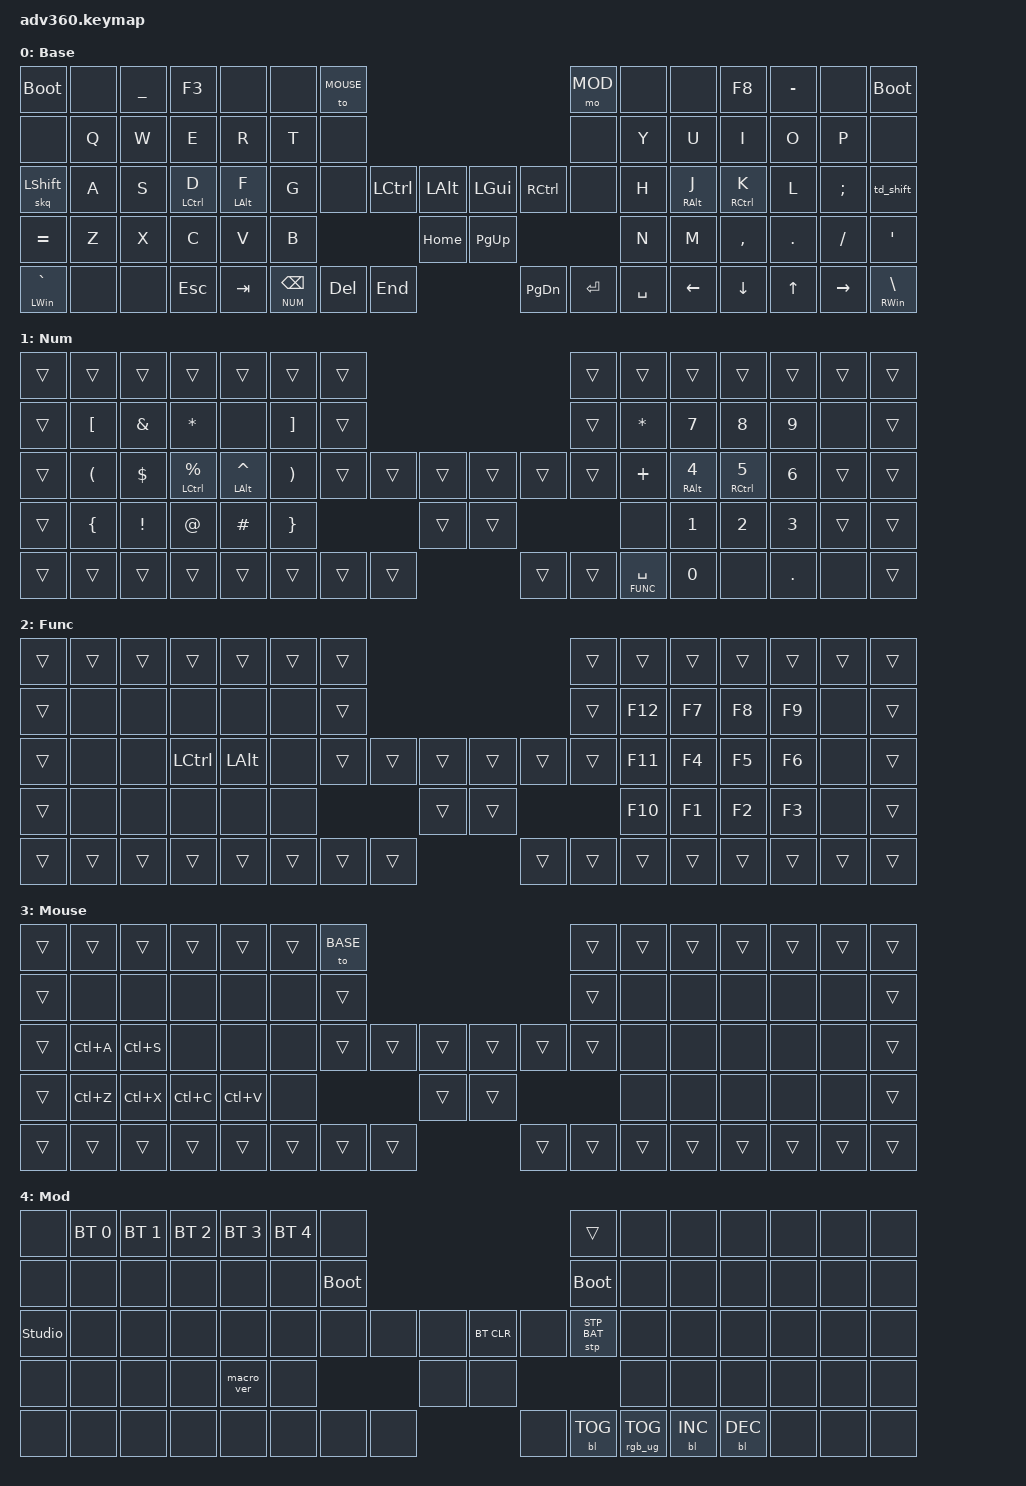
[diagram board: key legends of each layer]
#include <behaviors.dtsi>
#include "includes/custom_behaviors.dtsi"
#include <dt-bindings/zmk/keys.h>
#include <dt-bindings/zmk/bt.h>
#include <dt-bindings/zmk/rgb.h>
#include <dt-bindings/zmk/stp.h>
#include <dt-bindings/zmk/backlight.h>
#include <dt-bindings/zmk/pointing.h>

#define BASE  0
#define NUM   1
#define FUNC  2
#define MOUSE 3
#define MOD   4

/ {
    behaviors {
      #include "macros.dtsi"
      #include "version.dtsi"
    };

  combos {
      compatible = "zmk,combos";

      combo_home {
          timeout-ms = <50>;
          key-positions = <40 41>;
          bindings = <&kp HOME>;
      };

      combo_end {
          timeout-ms = <50>;
          key-positions = <41 42>;
          bindings = <&kp END>;
      };

      combo_pg_up {
          timeout-ms = <50>;
          key-positions = <23 24>;
          bindings = <&kp PG_UP>;
      };

      combo_pg_dn {
          timeout-ms = <50>;
          key-positions = <55 56>;
          bindings = <&kp PG_DN>;
      };

  };

  keymap {
    compatible = "zmk,keymap";

    base_layer {
      display-name = "Base";
      bindings = <
// |------------------|------------------|------------------|------------------|------------------|------------------|------------------|                                                                                                                      |------------------|------------------|------------------|------------------|------------------|------------------|------------------|
    &bootloader        &none              &kp UNDER          &kp F3             &none              &none              &to MOUSE                                                                                                                                 &mo MOD            &none              &none              &kp F8             &kp MINUS          &none              &bootloader
// |------------------|------------------|------------------|------------------|------------------|------------------|------------------|                                                                                                                      |------------------|------------------|------------------|------------------|------------------|------------------|------------------|
    &none              &kp Q              &kp W              &kp E              &kp R              &kp T              &none                                                                                                                                     &none              &kp Y              &kp U              &kp I              &kp O              &kp P              &none
// |------------------|------------------|------------------|------------------|------------------|------------------|------------------|------------------|------------------|------------------|    |------------------|------------------|------------------|------------------|------------------|------------------|------------------|------------------|------------------|------------------|
    &skq LSHFT         &kp A              &kp S              &hm_l LCTRL D      &hm_l LALT F       &kp G              &none                                 &kp LCTRL          &kp LALT                &kp LGUI           &kp RCTRL                             &none              &kp H              &hm_r RALT J       &hm_r RCTRL K      &kp L              &kp SEMI           &td_shift
// |------------------|------------------|------------------|------------------|------------------|------------------|------------------|------------------|------------------|------------------|    |------------------|------------------|------------------|------------------|------------------|------------------|------------------|------------------|------------------|------------------|
    &kp EQUAL          &kp Z              &kp X              &kp C              &kp V              &kp B                                                                       &kp HOME                &kp PG_UP                                                                   &kp N              &kp M              &kp COMMA          &kp DOT            &kp FSLH           &kp SQT
// |------------------|------------------|------------------|------------------|------------------|------------------|------------------|------------------|------------------|------------------|    |------------------|------------------|------------------|------------------|------------------|------------------|------------------|------------------|------------------|------------------|
    &hm_l LWIN GRAVE   &none              &none              &kp ESC            &kp TAB                                                  &lt NUM BSPC       &kp DEL            &kp END                 &kp PG_DN          &kp ENTER          &kp SPACE                                                &kp LEFT           &kp DOWN           &kp UP             &kp RIGHT          &hm_r RWIN BSLH
// |------------------|------------------|------------------|------------------|------------------|------------------|------------------|------------------|------------------|------------------|    |------------------|------------------|------------------|------------------|------------------|------------------|------------------|------------------|------------------|------------------|
      >;
    };
    num {
      display-name = "Num";
      bindings = <
// |------------------|------------------|------------------|------------------|------------------|------------------|------------------|                                                                                                                      |------------------|------------------|------------------|------------------|------------------|------------------|------------------|
    &trans             &trans             &trans             &trans             &trans             &trans             &trans                                                                                                                                    &trans             &trans             &trans             &trans             &trans             &trans             &trans
// |------------------|------------------|------------------|------------------|------------------|------------------|------------------|                                                                                                                      |------------------|------------------|------------------|------------------|------------------|------------------|------------------|
    &trans             &kp LBKT           &kp AMPERSAND      &kp STAR           &none              &kp RBKT           &trans                                                                                                                                    &trans             &kp STAR           &kp N7             &kp N8             &kp N9             &none              &trans
// |------------------|------------------|------------------|------------------|------------------|------------------|------------------|------------------|------------------|------------------|    |------------------|------------------|------------------|------------------|------------------|------------------|------------------|------------------|------------------|------------------|
    &trans             &kp LPAR           &kp DOLLAR         &hm_l LCTRL PRCNT  &hm_l LALT CARET   &kp RPAR           &trans                                &trans             &trans                  &trans             &trans                                &trans             &kp PLUS           &hm_r RALT N4      &hm_r RCTRL N5     &kp N6             &trans             &trans
// |------------------|------------------|------------------|------------------|------------------|------------------|------------------|------------------|------------------|------------------|    |------------------|------------------|------------------|------------------|------------------|------------------|------------------|------------------|------------------|------------------|
    &trans             &kp LBRC           &kp EXCL           &kp AT             &kp HASH           &kp RBRC                                                                    &trans                  &trans                                                                      &none              &kp N1             &kp N2             &kp N3             &trans             &trans
// |------------------|------------------|------------------|------------------|------------------|------------------|------------------|------------------|------------------|------------------|    |------------------|------------------|------------------|------------------|------------------|------------------|------------------|------------------|------------------|------------------|
    &trans             &trans             &trans             &trans             &trans                                                   &trans             &trans             &trans                  &trans             &trans             &lt FUNC SPACE                                           &kp N0             &none              &kp DOT            &none              &trans
// |------------------|------------------|------------------|------------------|------------------|------------------|------------------|------------------|------------------|------------------|    |------------------|------------------|------------------|------------------|------------------|------------------|------------------|------------------|------------------|------------------|
      >;
    };

    func {
      display-name = "Func";
      bindings = <
// |------------------|------------------|------------------|------------------|------------------|------------------|------------------|                                                                                                                      |------------------|------------------|------------------|------------------|------------------|------------------|------------------|
    &trans             &trans             &trans             &trans             &trans             &trans             &trans                                                                                                                                    &trans             &trans             &trans             &trans             &trans             &trans             &trans
// |------------------|------------------|------------------|------------------|------------------|------------------|------------------|                                                                                                                      |------------------|------------------|------------------|------------------|------------------|------------------|------------------|
    &trans             &none              &none              &none              &none              &none              &trans                                                                                                                                    &trans             &kp F12            &kp F7             &kp F8             &kp F9             &none              &trans
// |------------------|------------------|------------------|------------------|------------------|------------------|------------------|------------------|------------------|------------------|    |------------------|------------------|------------------|------------------|------------------|------------------|------------------|------------------|------------------|------------------|
    &trans             &none              &none              &kp LCTRL          &kp LALT           &none              &trans                                &trans             &trans                  &trans             &trans                                &trans             &kp F11            &kp F4             &kp F5             &kp F6             &none              &trans
// |------------------|------------------|------------------|------------------|------------------|------------------|------------------|------------------|------------------|------------------|    |------------------|------------------|------------------|------------------|------------------|------------------|------------------|------------------|------------------|------------------|
    &trans             &none              &none              &none              &none              &none                                                                       &trans                  &trans                                                                      &kp F10            &kp F1             &kp F2             &kp F3             &none              &trans
// |------------------|------------------|------------------|------------------|------------------|------------------|------------------|------------------|------------------|------------------|    |------------------|------------------|------------------|------------------|------------------|------------------|------------------|------------------|------------------|------------------|
    &trans             &trans             &trans             &trans             &trans                                                   &trans             &trans             &trans                  &trans             &trans             &trans                                                   &trans             &trans             &trans             &trans             &trans
// |------------------|------------------|------------------|------------------|------------------|------------------|------------------|------------------|------------------|------------------|    |------------------|------------------|------------------|------------------|------------------|------------------|------------------|------------------|------------------|------------------|
      >;
    };

    mouse {
      display-name = "Mouse";
      bindings = <
// |------------------|------------------|------------------|------------------|------------------|------------------|------------------|                                                                                                                      |------------------|------------------|------------------|------------------|------------------|------------------|------------------|
    &trans             &trans             &trans             &trans             &trans             &trans             &to BASE                                                                                                                                  &trans             &trans             &trans             &trans             &trans             &trans             &trans
// |------------------|------------------|------------------|------------------|------------------|------------------|------------------|                                                                                                                      |------------------|------------------|------------------|------------------|------------------|------------------|------------------|
    &trans             &none              &none              &none              &none              &none              &trans                                                                                                                                    &trans             &none              &none              &none              &none              &none              &trans
// |------------------|------------------|------------------|------------------|------------------|------------------|------------------|------------------|------------------|------------------|    |------------------|------------------|------------------|------------------|------------------|------------------|------------------|------------------|------------------|------------------|
    &trans             &kp LC(A)          &kp LC(S)          &none              &none              &none              &trans                                &trans             &trans                  &trans             &trans                                &trans             &none              &none              &none              &none              &none              &trans
// |------------------|------------------|------------------|------------------|------------------|------------------|------------------|------------------|------------------|------------------|    |------------------|------------------|------------------|------------------|------------------|------------------|------------------|------------------|------------------|------------------|
    &trans             &kp LC(Z)          &kp LC(X)          &kp LC(C)          &kp LC(V)          &none                                                                       &trans                  &trans                                                                      &none              &none              &none              &none              &none              &trans
// |------------------|------------------|------------------|------------------|------------------|------------------|------------------|------------------|------------------|------------------|    |------------------|------------------|------------------|------------------|------------------|------------------|------------------|------------------|------------------|------------------|
    &trans             &trans             &trans             &trans             &trans                                                   &trans             &trans             &trans                  &trans             &trans             &trans                                                   &trans             &trans             &trans             &trans             &trans
// |------------------|------------------|------------------|------------------|------------------|------------------|------------------|------------------|------------------|------------------|    |------------------|------------------|------------------|------------------|------------------|------------------|------------------|------------------|------------------|------------------|
      >;
    };

    mod {
      display-name = "Mod";
      bindings = <
        &none &bt BT_SEL 0 &bt BT_SEL 1 &bt BT_SEL 2 &bt BT_SEL 3 &bt BT_SEL 4 &none                                                                     &trans                 &none        &none        &none        &none &none &none
        &none &none        &none        &none        &none        &none        &bootloader                                                               &bootloader            &none        &none        &none        &none &none &none
        &studio_unlock &none        &none        &none        &none        &none        &none                   &none &none &bt BT_CLR &none                      &stp STP_BAT &none        &none        &none        &none &none &none
        &none &none        &none        &none        &macro_ver   &none                                      &none &none                                                        &none        &none        &none        &none &none &none
        &none &none        &none        &none        &none                                       &none &none &none &none      &bl BL_TOG &rgb_ug RGB_TOG                                     &bl BL_INC   &bl BL_DEC   &none &none &none
      >;
    };

  };
};
